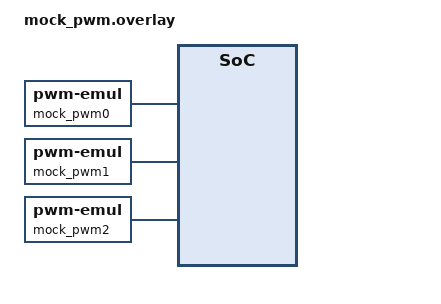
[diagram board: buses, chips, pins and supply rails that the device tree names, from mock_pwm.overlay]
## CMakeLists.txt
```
# SPDX-License-Identifier: Apache-2.0

cmake_minimum_required(VERSION 3.20.0)
find_package(Zephyr REQUIRED HINTS $ENV{ZEPHYR_BASE})
project(rgb_led)

target_sources(app PRIVATE src/main_mock_new.c)
```

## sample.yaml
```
sample:
  name: RGB LED
tests:
  sample.basic.rgb_led:
    # filter: dt_alias_exists("red-pwm-led") and dt_alias_exists("green-pwm-led")
    #   and dt_alias_exists("blue-pwm-led")
    tags:
      - drivers
      - pwm
    depends_on: pwm
    harness: led
    integration_platforms:
      - nrf52840_mdk
```

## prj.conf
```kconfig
CONFIG_PRINTK=y
CONFIG_PWM=y
CONFIG_LOG=y
CONFIG_LED_PWM=y
```

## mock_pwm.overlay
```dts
/ {
    aliases {
        red_pwm_led = &mock_pwm0;
        green_pwm_led = &mock_pwm1;
        blue_pwm_led = &mock_pwm2;
    };

    mock_pwm0: pwm@0 {
        compatible = "zephyr,pwm-emul";
        status = "okay";
        #pwm-cells = <3>;
    };

    mock_pwm1: pwm@1 {
        compatible = "zephyr,pwm-emul";
        status = "okay";
        #pwm-cells = <3>;
    };

    mock_pwm2: pwm@2 {
        compatible = "zephyr,pwm-emul";
        status = "okay";
        #pwm-cells = <3>;
    };
};
```

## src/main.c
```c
/*
 * Copyright (c) 2016 Intel Corporation
 *
 * SPDX-License-Identifier: Apache-2.0
 */

/**
 * @file Sample app to demonstrate PWM-based RGB LED control
 */

#define USE_MOCK 1

#if USE_MOCK == 1
    #define USE_MOCK_PWM
#else
    #include <zephyr/kernel.h>
    #include <zephyr/device.h>
    #include <zephyr/drivers/pwm.h>
#endif

#ifdef USE_MOCK_PWM
    #include "main_mock_new.h"
#endif

#include <zephyr/sys/printk.h>

#if USE_MOCK == 1

    struct pwm_dt_spec red_pwm_led = {
        .dev_name = "PWM_RED_MOCK",
        .channel = 0,
        .period = 40000000,
        .flags = PWM_POLARITY_INVERTED,
    };

    struct pwm_dt_spec green_pwm_led = {
        .dev_name = "PWM_GREEN_MOCK",
        .channel = 1,
        .period = 20000000,
        .flags = PWM_POLARITY_INVERTED,
    };

    struct pwm_dt_spec blue_pwm_led = {
        .dev_name = "PWM_BLUE_MOCK",
        .channel = 2,
        .period = 10000000,
        .flags = PWM_POLARITY_NORMAL,
    };
#else
    static const struct pwm_dt_spec red_pwm_led =
        PWM_DT_SPEC_GET(DT_ALIAS(red_pwm_led));
    static const struct pwm_dt_spec green_pwm_led =
        PWM_DT_SPEC_GET(DT_ALIAS(green_pwm_led));
    static const struct pwm_dt_spec blue_pwm_led =
        PWM_DT_SPEC_GET(DT_ALIAS(blue_pwm_led));
#endif


#define STEP_SIZE PWM_USEC(2000)

int main(void)
{
	uint32_t pulse_red, pulse_green, pulse_blue; // pulse widths
	int ret;

	printk("PWM-based RGB LED control\n");

	if (!pwm_is_ready_dt(&red_pwm_led) ||
	    !pwm_is_ready_dt(&green_pwm_led) ||
	    !pwm_is_ready_dt(&blue_pwm_led)) {
		printk("Error: one or more PWM devices not ready\n");
		return 0;
	}

	while (1) {
		for (pulse_red = 0U; pulse_red <= red_pwm_led.period;
		     pulse_red += STEP_SIZE) {
			ret = pwm_set_pulse_dt(&red_pwm_led, pulse_red);
			if (ret != 0) {
				printk("Error %d: red write failed\n", ret);
				return 0;
			}

			for (pulse_green = 0U;
			     pulse_green <= green_pwm_led.period;
			     pulse_green += STEP_SIZE) {
				ret = pwm_set_pulse_dt(&green_pwm_led,
						       pulse_green);
				if (ret != 0) {
					printk("Error %d: green write failed\n",
					       ret);
					return 0;
				}

				for (pulse_blue = 0U;
				     pulse_blue <= blue_pwm_led.period;
				     pulse_blue += STEP_SIZE) {
					ret = pwm_set_pulse_dt(&blue_pwm_led,
							       pulse_blue);
					if (ret != 0) {
						printk("Error %d: "
						       "blue write failed\n",
						       ret);
						return 0;
					}
					k_sleep(K_SECONDS(1));
				}
			}
		}
	}
	return 0;
}
```

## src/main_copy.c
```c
/*
 * Copyright (c) 2016 Intel Corporation
 *
 * SPDX-License-Identifier: Apache-2.0
 */

/**
 * @file Sample app to demonstrate PWM-based RGB LED control
 */

#include <zephyr/kernel.h>
#include <zephyr/sys/printk.h>
#include <zephyr/device.h>
#include <zephyr/drivers/pwm.h>

#define MOCK 1

static const struct device mock_red_pwm_dev = {
    .name = "PWM_RED_MOCK",
};

static const struct device mock_green_pwm_dev = {
    .name = "PWM_GREEN_MOCK",
};

static const struct device mock_blue_pwm_dev = {
    .name = "PWM_BLUE_MOCK",
};

static const struct pwd_dt_spec mock_red_pwm_led = {
    .dev = &mock_pwm_dev,
    .channel = 0,
    .period = 0,
    .flag = PWM_POLARITY_INVERTED,
};

static const struct pwm_dt_spec green_pwm_led_mock = {
    .dev = &mock_pwm0,
    .channel = 1,  /* Canal real no devicetree */
    .flags = PWM_POLARITY_INVERTED,
};

static const struct pwm_dt_spec blue_pwm_led_mock = {
    .dev = &mock_pwm0,
    .channel = 2,  /* Canal real no devicetree */
    .flags = PWM_POLARITY_INVERTED,
};

static const struct pwm_dt_spec red_pwm_led =
	PWM_DT_SPEC_GET(DT_ALIAS(red_pwm_led));
static const struct pwm_dt_spec green_pwm_led =
	PWM_DT_SPEC_GET(DT_ALIAS(green_pwm_led));
static const struct pwm_dt_spec blue_pwm_led =
	PWM_DT_SPEC_GET(DT_ALIAS(blue_pwm_led));

#define STEP_SIZE PWM_USEC(2000)

int main(void)
{
	uint32_t pulse_red, pulse_green, pulse_blue; /* pulse widths */
	int ret;

	printk("PWM-based RGB LED control\n");


	if (!pwm_is_ready_dt(&red_pwm_led) ||
	    !pwm_is_ready_dt(&green_pwm_led) ||
	    !pwm_is_ready_dt(&blue_pwm_led)) {
		printk("Error: one or more PWM devices not ready\n");
		return 0;
	}

	while (1) {
		for (pulse_red = 0U; pulse_red <= red_pwm_led.period;
		     pulse_red += STEP_SIZE) {
			ret = pwm_set_pulse_dt(&red_pwm_led, pulse_red);
			if (ret != 0) {
				printk("Error %d: red write failed\n", ret);
				return 0;
			}

			for (pulse_green = 0U;
			     pulse_green <= green_pwm_led.period;
			     pulse_green += STEP_SIZE) {
				ret = pwm_set_pulse_dt(&green_pwm_led,
						       pulse_green);
				if (ret != 0) {
					printk("Error %d: green write failed\n",
					       ret);
					return 0;
				}

				for (pulse_blue = 0U;
				     pulse_blue <= blue_pwm_led.period;
				     pulse_blue += STEP_SIZE) {
					ret = pwm_set_pulse_dt(&blue_pwm_led,
							       pulse_blue);
					if (ret != 0) {
						printk("Error %d: "
						       "blue write failed\n",
						       ret);
						return 0;
					}
					k_sleep(K_SECONDS(1));
				}
			}
		}
	}
	return 0;
}
```

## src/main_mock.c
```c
/*
 * Copyright (c) 2016 Intel Corporation
 *
 * SPDX-License-Identifier: Apache-2.0
 */

/**
 * @file Sample app to demonstrate PWM-based RGB LED control
 */

#include <zephyr/kernel.h>
#include <zephyr/sys/printk.h>
#include <zephyr/device.h>
#include <zephyr/drivers/pwm.h>

/*--------LOCAL DEFINES--------*/
#define MOCK 1
#define STEP_SIZE PWM_USEC(1000)
#define NO_ERROR 0

/*--------LOCAL VARIABLES--------*/
#if MOCK
    static const struct device mock_red_pwm = {
        .name = "PWM_RED_MOCK",
    };

    static const struct device mock_green_pwm = {
        .name = "PWM_GREEN_MOCK",
    };

    static const struct device mock_blue_pwm = {
        .name = "PWM_BLUE_MOCK",
    };

    struct pwm_dt_spec red_pwm_led = {
        .dev = &mock_red_pwm,
        .channel = 0,
        .period = 40000000,
        .flags = PWM_POLARITY_INVERTED,
    };

    struct pwm_dt_spec green_pwm_led = {
        .dev = &mock_green_pwm,
        .channel = 1,
        .period = 20000000,
        .flags = PWM_POLARITY_INVERTED,
    };

    struct pwm_dt_spec blue_pwm_led = {
        .dev = &mock_blue_pwm,
        .channel = 2,
        .period = 10000000,
        .flags = PWM_POLARITY_NORMAL,
    };
#else
    static const struct pwm_dt_spec red_pwm_led =
        PWM_DT_SPEC_GET(DT_ALIAS(red_pwm_led));
    static const struct pwm_dt_spec green_pwm_led =
        PWM_DT_SPEC_GET(DT_ALIAS(green_pwm_led));
    static const struct pwm_dt_spec blue_pwm_led =
        PWM_DT_SPEC_GET(DT_ALIAS(blue_pwm_led));
#endif


/*--------LOCAL FUNCTIONS--------*/
bool pwm_is_ready_dt_mock(const struct pwm_dt_spec * spec);
int pwm_set_pulse_dt_mock(const struct pwm_dt_spec * spec, uint32_t pulse);

/*--------LOCAL APPLICATIONS--------*/
int main(void)
{
    uint32_t pulse_red, pulse_green, pulse_blue; /* pulse widths */
    int ret;

    printk("PWM-based RGB LED control %ld\n", STEP_SIZE);

    #if MOCK
        if (!pwm_is_ready_dt_mock(&red_pwm_led) ||
            !pwm_is_ready_dt_mock(&green_pwm_led) ||
            !pwm_is_ready_dt_mock(&blue_pwm_led)) {
            printk("Error: one or more PWM devices not ready\n");
            return 0;
        }

    #else
        if (!pwm_is_ready_dt(&red_pwm_led) ||
            !pwm_is_ready_dt(&green_pwm_led) ||
            !pwm_is_ready_dt(&blue_pwm_led)) {
            printk("Error: one or more PWM devices not ready\n");
            return 0;
        }
    #endif


    while (1) {
        for (pulse_red = 0U; pulse_red <= red_pwm_led.period;
            pulse_red += STEP_SIZE) {

            #if MOCK
                ret = pwm_set_pulse_dt_mock(&red_pwm_led, pulse_red);
            #else
                ret = pwm_set_pulse_dt(&red_pwm_led, pulse_red);
            #endif
            if (ret != NO_ERROR) {
                    printk("Error %d: red write failed\n", ret);
                return 0;
            }

            for (pulse_green = 0U;
                pulse_green <= green_pwm_led.period;
                pulse_green += STEP_SIZE) {

                #if MOCK
                    ret = pwm_set_pulse_dt_mock(&green_pwm_led, pulse_green);
                #else
                    ret = pwm_set_pulse_dt(&green_pwm_led, pulse_green);
                #endif
                if (ret != NO_ERROR) {
                    printk("Error %d: green write failed\n",
                        ret);
                    return 0;
                }

                for (pulse_blue = 0U;
                    pulse_blue <= blue_pwm_led.period;
                    pulse_blue += STEP_SIZE) {

                    #if MOCK
                        ret = pwm_set_pulse_dt_mock(&blue_pwm_led, pulse_blue);
                    #else
                        ret = pwm_set_pulse_dt(&blue_pwm_led, pulse_blue);
                    #endif
                    if (ret != NO_ERROR) {
                        printk("Error %d: "
                            "blue write failed\n",
                            ret);
                        return 0;
                    }
                    k_sleep(K_MSEC(100));
                }
            }
        }
    }
    return 0;
}

int pwm_set_pulse_dt_mock(const struct pwm_dt_spec * spec, uint32_t pulse){

    printk("%s, pulse %ld\n", spec->dev->name, pulse);
    return NO_ERROR;
}

bool pwm_is_ready_dt_mock(const struct pwm_dt_spec * spec){
    printk("PWM %s is ready\n", spec->dev->name);
    return true;
}
```

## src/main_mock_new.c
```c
/*--------INCLUDES--------*/
#include "main_mock_new.h"

/*--------DEFINES--------*/
#define NO_ERROR 0

/*--------APPLICATION--------*/
int pwm_set_pulse_dt_mock(const struct pwm_dt_spec * spec, uint32_t pulse){
    printk("%s, pulse %ld\n", spec->dev->name, pulse);
    return NO_ERROR;
}

bool pwm_is_ready_dt_mock(const struct pwm_dt_spec * spec){
    printk("PWM %s is ready\n", spec->dev->name);
    return true;
}

pwm_dt_spec * pwm_dt_spec_get(int node_id){
    printk("node_id %d\n", node_id);
}
```

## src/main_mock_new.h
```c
#ifndef MAIN_MOCK_NEW_H
#define MAIN_MOCK_NEW_H

#include <stdint.h>
#include <stdio.h>
#include <stdbool.h>
#include <zephyr/kernel.h>

#define PWM_NSEC(x) (x)
#define PWM_USEC(x) ((x) * 1000UL)

#define PWM_POLARITY_NORMAL   0
#define PWM_POLARITY_INVERTED 1

typedef uint16_t pwm_flags_t;

/* Mock da struct pwm_dt_spec */
struct pwm_dt_spec {
    const char *dev_name;
    uint32_t channel;
    uint32_t period;
    pwm_flags_t flags;
};

/* Mock da função que checa se o device está pronto */
static inline bool pwm_is_ready_dt(const struct pwm_dt_spec *spec)
{
    (void)spec;
    return true;
}

/* Mock do pwm_set_pulse_dt */
static inline int pwm_set_pulse_dt(const struct pwm_dt_spec *spec, uint32_t pulse)
{
    printf("[MOCK] dev=%s, ch=%u, period=%u, pulse=%u, flags=%u\n",
           spec->dev_name, spec->channel, spec->period, pulse, spec->flags);
    return 0;
}

/* Mock do PWM_DT_SPEC_GET (ignora node_id e retorna vazio) */
static inline struct pwm_dt_spec pwm_dt_spec_get(int dummy)
{
    struct pwm_dt_spec spec = {0};
    return spec;
}

// /* Mock do k_sleep */
// #define K_SECONDS(x) ((x) * 1000UL)
// #define k_sleep(ms) sleep((ms)/1000)

#endif /* MAIN_MOCK_NEW_H */
```
